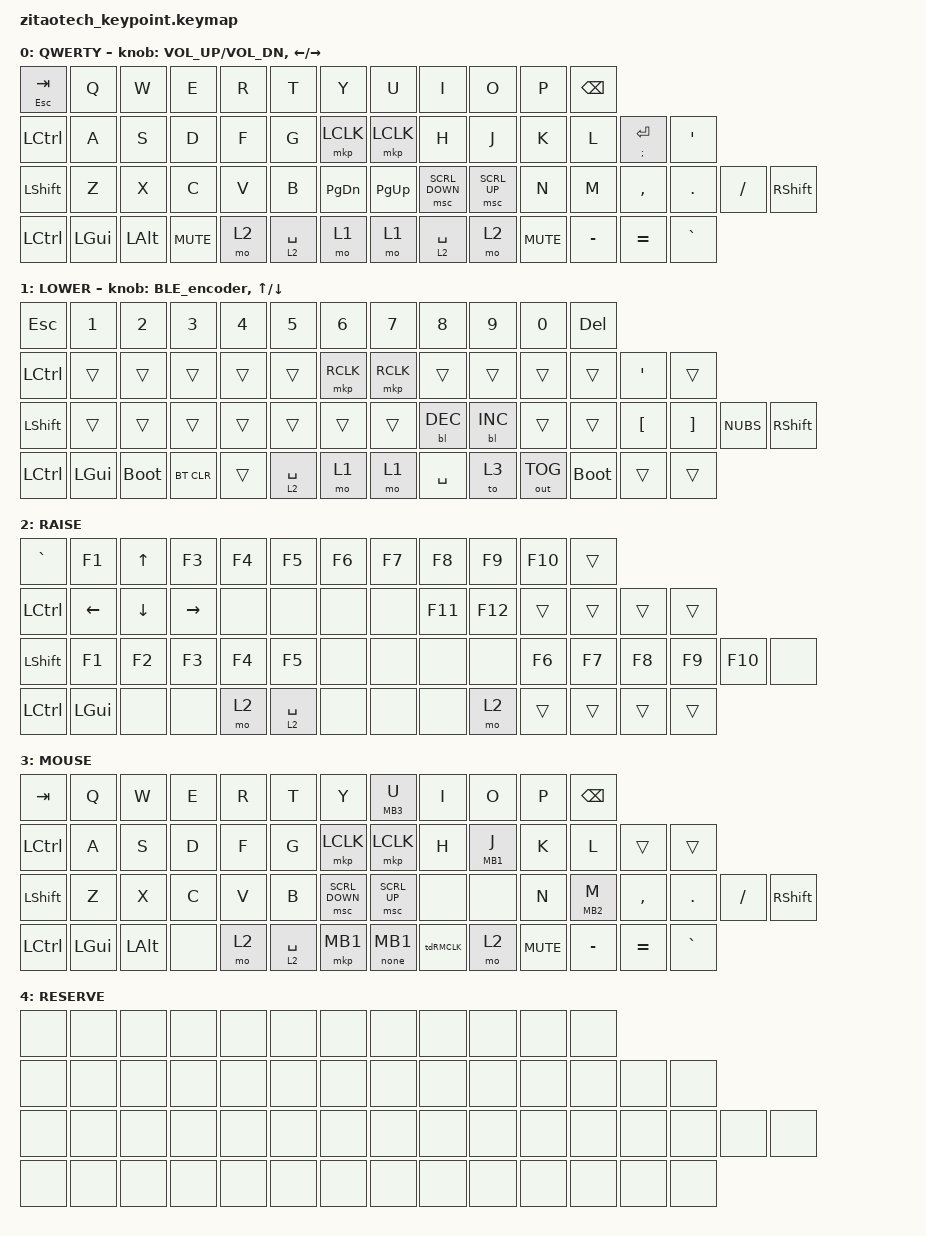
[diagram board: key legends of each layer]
/*
 * Copyright (c) 2025 ZitaoTech
 *
 * SPDX-License-Identifier: MIT
 */

#include <behaviors.dtsi>
#include <dt-bindings/zmk/keys.h>
#include <dt-bindings/zmk/bt.h>
#include <dt-bindings/zmk/outputs.h>
#include <dt-bindings/zmk/pointing.h>
#include <dt-bindings/zmk/mouse.h>
#include <dt-bindings/zmk/backlight.h>
#include <dt-bindings/zmk/ext_power.h>
#include <dt-bindings/zmk/rgb.h>
 
#define LOWER 1
#define RAISE 2
#define MOUSE 3
#define BOT bootloader

/ {
    behaviors {
        td0: tap_dance_0 {
            compatible = "zmk,behavior-tap-dance";
            #binding-cells = <0>;
            tapping-term-ms = <400>;
            bindings = <&mkp LCLK>, <&bt BT_CLR>;
        };
    };
    behaviors {
        tdRMCLK: tap_dance_R_LMouse {
            compatible = "zmk,behavior-tap-dance";
            #binding-cells = <0>;
            tapping-term-ms = <400>;
            bindings = <&mkp RCLK>, <&mkp MCLK>;
        };
    };

    behaviors {
        hm: homerow_mods {
            compatible = "zmk,behavior-hold-tap";
            #binding-cells = <2>;
            tapping-term-ms = <500>;
            bindings = <&kp &kp>;
        };
    };

    behaviors {
         LMouse_sc: behavior_LMouse_Scroll {
           compatible = "zmk,behavior-hold-tap";
           #binding-cells = <2>;
           flavor = "tap-preferred";     /* 单击优先 */
           tapping-term-ms = <200>;       /* 长按阈值 */
           bindings = <&none &mkp>;        /* hold=none, tap=Lmouse */
        };
    };

    behaviors {
         M_kp: behavior_mouse_keypress {
           compatible = "zmk,behavior-hold-tap";
           #binding-cells = <2>;
           flavor = "tap-preferred";     /* 单击优先 */
           tapping-term-ms = <200>;       /* 长按阈值 */
           bindings = <&mkp &kp>;        /* hold=mou key press, tap=key*/
        };
    };

    behaviors {
        BLE_encoder: BLE_encoder {
            compatible = "zmk,behavior-sensor-rotate";
            #sensor-binding-cells = <0>;
            bindings = <&bt BT_NXT>, <&bt BT_PRV>;
        };
    };


    keymap {
        compatible = "zmk,keymap";

         default_layer {
            display-name = "QWERTY";    
           bindings = <
&mt ESC TAB  &kp Q     &kp W        &kp E       &kp R   &kp T        &kp Y           &kp U             &kp I           &kp O         &kp P         &kp BSPC     
&kp LCTRL    &kp A     &kp S        &kp D       &kp F   &kp G        &mkp LCLK       &mkp LCLK         &kp H           &kp J         &kp K         &kp L        &M_kp SEMI RET  &kp SQT    
&kp LSHFT    &kp Z     &kp X        &kp C       &kp V   &kp B        &kp PG_DN       &kp PG_UP         &msc SCRL_DOWN  &msc SCRL_UP  &kp N         &kp M        &kp COMMA       &kp DOT    &kp FSLH  &kp RSHFT  
&kp LCTRL    &kp LGUI  &kp LALT     &kp C_MUTE  &mo 2   &lt 2 SPACE  &mo 1           &mo 1             &lt 2 SPACE     &mo 2         &kp C_MUTE    &kp MINUS    &kp EQUAL       &kp GRAVE 
>;
           sensor-bindings = <&inc_dec_kp C_VOL_UP C_VOL_DN &inc_dec_kp LEFT RIGHT>;
        };


        lower_layer {
            display-name = "LOWER";
            bindings = <
&kp ESC      &kp N1    &kp N2       &kp N3      &kp N4  &kp N5       &kp N6          &kp N7            &kp N8          &kp N9        &kp N0        &kp DEL      
&kp LCTRL    &trans    &trans       &trans      &trans  &trans       &mkp RCLK       &mkp RCLK         &trans          &trans        &trans        &trans       &kp SQT         &trans     
&kp LSHFT    &trans    &trans       &trans      &trans  &trans       &trans          &trans            &bl BL_DEC      &bl BL_INC    &trans        &trans       &kp LBKT        &kp RBKT   &kp NUBS  &kp RSHFT  
&kp LCTRL    &kp LGUI  &bootloader  &bt BT_CLR  &trans  &lt 2 SPACE  &mo 1           &mo 1             &kp SPACE       &to 3         &out OUT_TOG  &bootloader  &trans          &trans    
>;
             sensor-bindings = <&BLE_encoder &inc_dec_kp UP DOWN>;
        };

        raise_layer {
            display-name = "RAISE";
            bindings = <
&kp GRAVE    &kp F1    &kp UP       &kp F3      &kp F4  &kp F5       &kp F6          &kp F7            &kp F8          &kp F9        &kp F10       &trans       
&kp LCTRL    &kp LEFT  &kp DOWN     &kp RIGHT   &none   &none        &none           &none             &kp F11         &kp F12       &trans        &trans       &trans          &trans     
&kp LSHFT    &kp F1    &kp F2       &kp F3      &kp F4  &kp F5       &none           &none             &none           &none         &kp F6        &kp F7       &kp F8          &kp F9     &kp F10   &none      
&kp LCTRL    &kp LGUI  &none        &none       &mo 2   &lt 2 SPACE  &none           &none             &none           &mo 2         &trans        &trans       &trans          &trans    
>;
        };

        MOUSE_layer {
            display-name = "MOUSE";
            bindings = <
&kp TAB      &kp Q     &kp W        &kp E       &kp R   &kp T        &kp Y           &M_kp MB3 U       &kp I           &kp O         &kp P         &kp BSPC     
&kp LCTRL    &kp A     &kp S        &kp D       &kp F   &kp G        &mkp LCLK       &mkp LCLK         &kp H           &M_kp MB1 J   &kp K         &kp L        &trans          &trans     
&kp LSHFT    &kp Z     &kp X        &kp C       &kp V   &kp B        &msc SCRL_DOWN  &msc SCRL_UP      &none           &none         &kp N         &M_kp MB2 M  &kp COMMA       &kp DOT    &kp FSLH  &kp RSHFT  
&kp LCTRL    &kp LGUI  &kp LALT     &none       &mo 2   &lt 2 SPACE  &mkp MB1        &LMouse_sc 0 MB1  &tdRMCLK        &mo 2         &kp C_MUTE    &kp MINUS    &kp EQUAL       &kp GRAVE 
>;
        };

        RES_layer {
            display-name = "RESERVE";
            bindings = <
&none     &none     &none      &none    &none    &none                                                 &none   &none  &none   &none  &none  &none
&none     &none     &none      &none    &none    &none   &none                        &none            &none   &none  &none   &none  &none  &none
&none     &none     &none      &none    &none    &none   &none   &none                &none  &none     &none   &none  &none   &none  &none  &none
&none     &none     &none      &none    &none    &none   &none                               &none     &none   &none  &none   &none  &none  &none 
            >;
        };

    };
};
